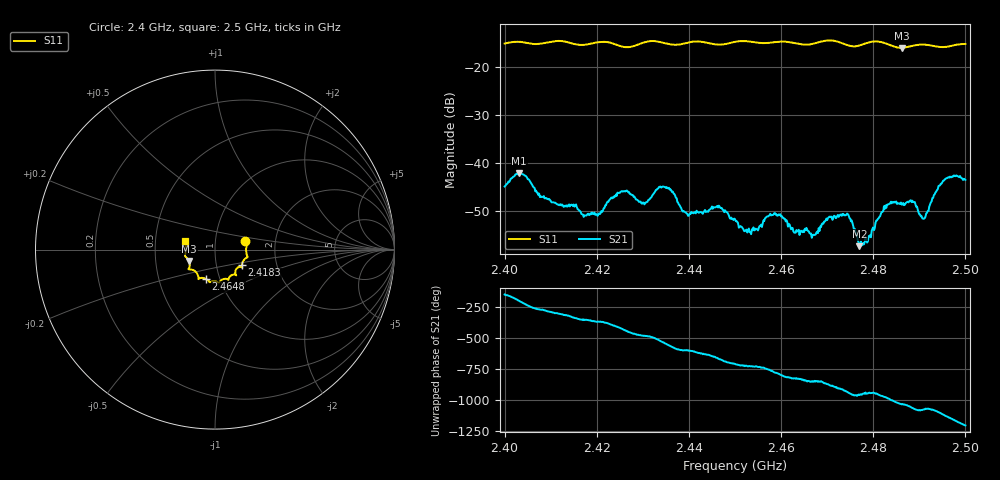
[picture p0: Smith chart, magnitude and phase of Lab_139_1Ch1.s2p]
# Hz S RI R 50
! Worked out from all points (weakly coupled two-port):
!   601 points, 2.4 GHz to 2.5 GHz, reference 50 ohm
!   highest |S21| = -42.14 dB at 2.4032 GHz (marker M1); lowest = -57.3 dB at 2.477 GHz (marker M2)
!   lowest |S11| = -16.0 dB at 2.4862 GHz (marker M3), VSWR 1.37, Z = 37.1 - j4.82 ohm
!   |S11| at or under -10 dB: start of sweep to end of sweep
!   S12 and S22 are empty: the file has one direction only
!   S11 on the Smith chart (normalised r, x): 2.4 GHz: 1.40, +0.13; 2.4183 GHz: 1.33, -0.24; 2.4648 GHz: 0.86, -0.29; 2.5 GHz: 0.71, +0.07
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2.4e9  0.1687 0.0458  -0.00466 -0.00325  0 0  0 0
2.403167e9  0.1797 0.0318  -0.00749 0.00224  0 0  0 0
2.416667e9  0.1548 -0.0682  0.00288 0.000544  0 0  0 0
2.418333e9  0.1497 -0.0869  0.00284 0.00031  0 0  0 0
2.425e9  0.1341 -0.0967  0.00274 -0.00403  0 0  0 0
2.430167e9  0.1143 -0.1381  -0.002 -0.0033  0 0  0 0
2.433333e9  0.1165 -0.1415  -0.00478 -0.00253  0 0  0 0
2.4395e9  0.0764 -0.1601  -0.00164 0.0025  0 0  0 0
2.4465e9  0.0484 -0.1637  0.00219 0.00284  0 0  0 0
2.45e9  0.025 -0.1807  0.00255 0.000507  0 0  0 0
2.453167e9  0.0177 -0.1829  0.00189 -0.000206  0 0  0 0
2.459e9  -0.0239 -0.1806  0.0014 -0.00255  0 0  0 0
2.464833e9  -0.0512 -0.1629  -0.000946 -0.00173  0 0  0 0
2.466667e9  -0.0715 -0.1575  -0.00105 -0.00128  0 0  0 0
2.474e9  -0.0956 -0.142  -0.00246 0.00143  0 0  0 0
2.477e9  -0.1217 -0.1141  -0.000641 0.0012  0 0  0 0
2.483333e9  -0.1418 -0.0957  5.75e-05 0.0037  0 0  0 0
2.486167e9  -0.1445 -0.0634  0.00269 0.00252  0 0  0 0
2.4885e9  -0.1602 -0.0434  0.00392 0.000953  0 0  0 0
2.490833e9  -0.1672 -0.0339  0.00263 2.54e-05  0 0  0 0
2.4955e9  -0.1608 0.0108  0.00466 -0.00482  0 0  0 0
2.5e9  -0.1668 0.0471  -0.00415 -0.00521  0 0  0 0
